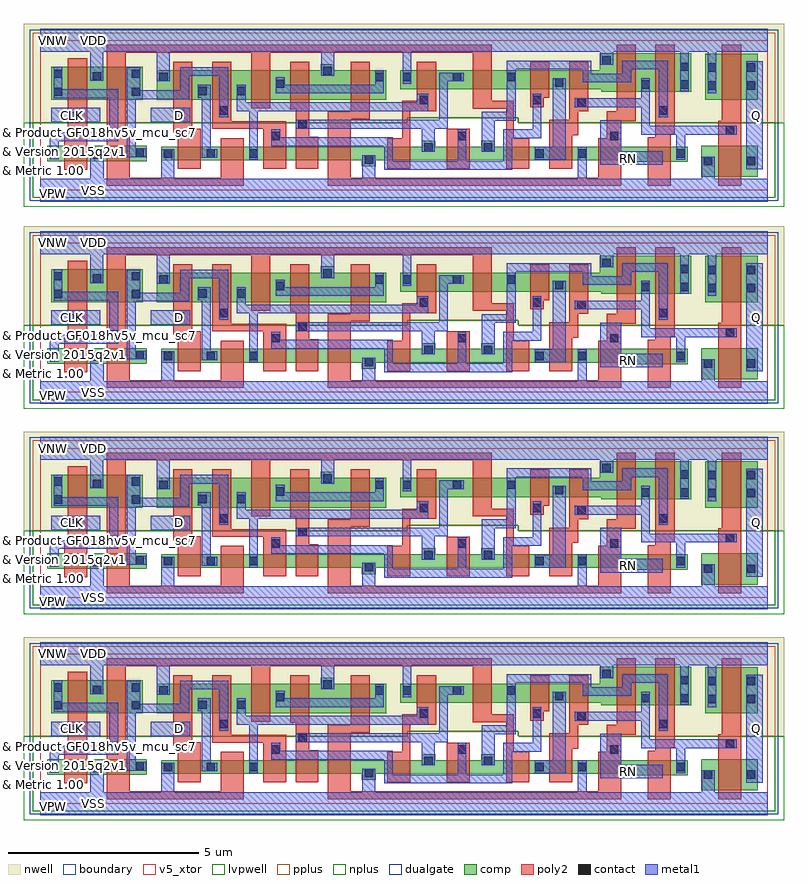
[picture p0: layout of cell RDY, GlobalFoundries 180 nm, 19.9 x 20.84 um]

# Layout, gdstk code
import gdstk
lib = gdstk.Library(unit=1e-6, precision=1e-09)
def R(c, l, rs):  # rectangles x0, y0, x1, y1
    for r in rs: c.add(gdstk.rectangle(r[:2], r[2:], *l))
def A(c, l, x, y, w, h, nx, ny, dx, dy):  # array of equal rectangles
    R(c, l, [(x+i*dx, y+j*dy, x+i*dx+w, y+j*dy+h) for i in range(nx) for j in range(ny)])
def P(c, l, *ps):  # polygons
    for p in ps: c.add(gdstk.Polygon(p, *l))
boundary = (0, 0)
nwell = (21, 0)
comp = (22, 0)
poly2 = (30, 0)
pplus = (31, 0)
nplus = (32, 0)
contact = (33, 0)
metal1 = (34, 0)
dualgate = (55, 0)
v5_xtor = (112, 1)
lvpwell = (204, 0)

rdy = lib.new_cell('RDY')
R(rdy, boundary, [(0,-16.065,19.04,-12.145), (0,-10.675,19.04,-6.755), (0,-5.3,19.04,-1.38), (0,0,19.04,3.92)])
P(rdy, nwell, [(-0.43,-3.54),(-0.43,-0.95),(19.47,-0.95),(19.47,-3.54),(12.515,-3.54),(12.515,-3.405),(9.6,-3.405),(9.6,-3.54)],
  [(-0.43,-8.915),(-0.43,-6.325),(19.47,-6.325),(19.47,-8.915),(12.515,-8.915),(12.515,-8.78),(9.6,-8.78),(9.6,-8.915)],
  [(-0.43,-14.305),(-0.43,-11.715),(19.47,-11.715),(19.47,-14.305),(12.515,-14.305),(12.515,-14.17),(9.6,-14.17),(9.6,-14.305)],
  [(-0.43,1.76),(-0.43,4.35),(19.47,4.35),(19.47,1.76),(12.515,1.76),(12.515,1.895),(9.6,1.895),(9.6,1.76)])
R(rdy, comp, [(17.305,-15.72,18.785,-14.905), (0.18,-15.31,2.78,-14.905), (0.28,-13.705,2.68,-12.84), (17.405,-13.705,18.785,-12.49), (17.305,-10.33,18.785,-9.515), (0.18,-9.92,2.78,-9.515), (0.28,-8.315,2.68,-7.45), (17.405,-8.315,18.785,-7.1), (17.305,-4.955,18.785,-4.14), (0.18,-4.545,2.78,-4.14), (0.28,-2.94,2.68,-2.075), (17.405,-2.94,18.785,-1.725), (17.305,0.345,18.785,1.16), (0.18,0.755,2.78,1.16), (0.28,2.36,2.68,3.225), (17.405,2.36,18.785,3.575)])
P(rdy, comp, [(3.04,-2.94),(3.04,-2.16),(7.34,-2.16),(7.34,-2),(7.7,-2),(7.7,-2.16),(9.06,-2.16),(9.06,-2.94)],
  [(8.42,-4.68),(8.42,-4.52),(3.16,-4.52),(3.16,-4.16),(9.98,-4.16),(9.98,-4.005),(10.34,-4.005),(10.34,-4.16),(11.54,-4.16),(11.54,-4.005),(11.9,-4.005),(11.9,-4.16),(16.945,-4.16),(16.945,-4.56),(15.505,-4.56),(15.505,-4.52),(8.78,-4.52),(8.78,-4.68)],
  [(14.685,-2.72),(14.685,-2.665),(9.42,-2.665),(9.42,-2.16),(14.645,-2.16),(14.645,-1.72),(17.045,-1.72),(17.045,-2.72)],
  [(3.04,-8.315),(3.04,-7.535),(7.34,-7.535),(7.34,-7.375),(7.7,-7.375),(7.7,-7.535),(9.06,-7.535),(9.06,-8.315)],
  [(8.42,-10.055),(8.42,-9.895),(3.16,-9.895),(3.16,-9.535),(9.98,-9.535),(9.98,-9.38),(10.34,-9.38),(10.34,-9.535),(11.54,-9.535),(11.54,-9.38),(11.9,-9.38),(11.9,-9.535),(16.945,-9.535),(16.945,-9.935),(15.505,-9.935),(15.505,-9.895),(8.78,-9.895),(8.78,-10.055)],
  [(14.685,-8.095),(14.685,-8.04),(9.42,-8.04),(9.42,-7.535),(14.645,-7.535),(14.645,-7.095),(17.045,-7.095),(17.045,-8.095)],
  [(3.04,-13.705),(3.04,-12.925),(7.34,-12.925),(7.34,-12.765),(7.7,-12.765),(7.7,-12.925),(9.06,-12.925),(9.06,-13.705)],
  [(8.42,-15.445),(8.42,-15.285),(3.16,-15.285),(3.16,-14.925),(9.98,-14.925),(9.98,-14.77),(10.34,-14.77),(10.34,-14.925),(11.54,-14.925),(11.54,-14.77),(11.9,-14.77),(11.9,-14.925),(16.945,-14.925),(16.945,-15.325),(15.505,-15.325),(15.505,-15.285),(8.78,-15.285),(8.78,-15.445)],
  [(14.685,-13.485),(14.685,-13.43),(9.42,-13.43),(9.42,-12.925),(14.645,-12.925),(14.645,-12.485),(17.045,-12.485),(17.045,-13.485)],
  [(3.04,2.36),(3.04,3.14),(7.34,3.14),(7.34,3.3),(7.7,3.3),(7.7,3.14),(9.06,3.14),(9.06,2.36)],
  [(8.42,0.62),(8.42,0.78),(3.16,0.78),(3.16,1.14),(9.98,1.14),(9.98,1.295),(10.34,1.295),(10.34,1.14),(11.54,1.14),(11.54,1.295),(11.9,1.295),(11.9,1.14),(16.945,1.14),(16.945,0.74),(15.505,0.74),(15.505,0.78),(8.78,0.78),(8.78,0.62)],
  [(14.685,2.58),(14.685,2.635),(9.42,2.635),(9.42,3.14),(14.645,3.14),(14.645,3.58),(17.045,3.58),(17.045,2.58)])
R(rdy, poly2, [(10.64,-15.505,11.24,-14.465), (10.64,-10.115,11.24,-9.075), (10.64,-4.74,11.24,-3.7), (10.64,0.56,11.24,1.6)])
P(rdy, poly2, [(0.62,-4.765),(0.62,-3.86),(0.72,-3.86),(0.72,-1.85),(1.22,-1.85),(1.22,-4.765)],
  [(3.6,-4.74),(3.6,-3.79),(3.48,-3.79),(3.48,-1.94),(3.98,-1.94),(3.98,-3.69),(4.2,-3.69),(4.2,-4.74)],
  [(5.84,-4.74),(5.84,-3.7),(4.5,-3.7),(4.5,-1.94),(5,-1.94),(5,-3.5),(6.44,-3.5),(6.44,-4.74)],
  [(6.68,-4.74),(6.68,-3.185),(6.54,-3.185),(6.54,-1.94),(7.04,-1.94),(7.04,-3.9),(7.28,-3.9),(7.28,-4.74)],
  [(9.08,-4.74),(9.08,-3.94),(9.48,-3.94),(9.48,-2.965),(9.86,-2.965),(9.86,-1.94),(10.36,-1.94),(10.36,-3.23),(9.68,-3.23),(9.68,-4.74)],
  [(1.74,-5.18),(1.74,-1.5),(11.82,-1.5),(11.82,-2.965),(12.4,-2.965),(12.4,-3.94),(12.8,-3.94),(12.8,-4.74),(12.2,-4.74),(12.2,-3.165),(11.32,-3.165),(11.32,-1.7),(6.02,-1.7),(6.02,-3.16),(5.52,-3.16),(5.52,-1.7),(2.24,-1.7),(2.24,-3.86),(2.34,-3.86),(2.34,-4.98),(4.72,-4.98),(4.72,-3.94),(5.32,-3.94),(5.32,-5.18)],
  [(12.825,-3.125),(12.825,-1.94),(13.325,-1.94),(13.325,-2.885),(13.185,-2.885),(13.185,-3.125)],
  [(13.325,-4.74),(13.325,-3.46),(13.845,-3.46),(13.845,-1.94),(14.345,-1.94),(14.345,-3.24),(14.085,-3.24),(14.085,-3.86),(13.925,-3.86),(13.925,-4.74)],
  [(7.52,-5.18),(7.52,-3.24),(8.12,-3.24),(8.12,-1.94),(8.62,-1.94),(8.62,-3.44),(8.12,-3.44),(8.12,-4.98),(14.605,-4.98),(14.605,-3.94),(14.825,-3.94),(14.825,-3.24),(15.085,-3.24),(15.085,-1.5),(15.585,-1.5),(15.585,-3.495),(15.205,-3.495),(15.205,-5.18)],
  [(15.905,-5.18),(15.905,-3.92),(16.105,-3.92),(16.105,-1.5),(16.605,-1.5),(16.605,-3.84),(16.505,-3.84),(16.505,-5.18)],
  [(17.745,-5.18),(17.745,-3.48),(17.845,-3.48),(17.845,-1.5),(18.345,-1.5),(18.345,-5.18)],
  [(0.62,-10.14),(0.62,-9.235),(0.72,-9.235),(0.72,-7.225),(1.22,-7.225),(1.22,-10.14)],
  [(3.6,-10.115),(3.6,-9.165),(3.48,-9.165),(3.48,-7.315),(3.98,-7.315),(3.98,-9.065),(4.2,-9.065),(4.2,-10.115)],
  [(5.84,-10.115),(5.84,-9.075),(4.5,-9.075),(4.5,-7.315),(5,-7.315),(5,-8.875),(6.44,-8.875),(6.44,-10.115)],
  [(6.68,-10.115),(6.68,-8.56),(6.54,-8.56),(6.54,-7.315),(7.04,-7.315),(7.04,-9.275),(7.28,-9.275),(7.28,-10.115)],
  [(9.08,-10.115),(9.08,-9.315),(9.48,-9.315),(9.48,-8.34),(9.86,-8.34),(9.86,-7.315),(10.36,-7.315),(10.36,-8.605),(9.68,-8.605),(9.68,-10.115)],
  [(1.74,-10.555),(1.74,-6.875),(11.82,-6.875),(11.82,-8.34),(12.4,-8.34),(12.4,-9.315),(12.8,-9.315),(12.8,-10.115),(12.2,-10.115),(12.2,-8.54),(11.32,-8.54),(11.32,-7.075),(6.02,-7.075),(6.02,-8.535),(5.52,-8.535),(5.52,-7.075),(2.24,-7.075),(2.24,-9.235),(2.34,-9.235),(2.34,-10.355),(4.72,-10.355),(4.72,-9.315),(5.32,-9.315),(5.32,-10.555)],
  [(12.825,-8.5),(12.825,-7.315),(13.325,-7.315),(13.325,-8.26),(13.185,-8.26),(13.185,-8.5)],
  [(13.325,-10.115),(13.325,-8.835),(13.845,-8.835),(13.845,-7.315),(14.345,-7.315),(14.345,-8.615),(14.085,-8.615),(14.085,-9.235),(13.925,-9.235),(13.925,-10.115)],
  [(7.52,-10.555),(7.52,-8.615),(8.12,-8.615),(8.12,-7.315),(8.62,-7.315),(8.62,-8.815),(8.12,-8.815),(8.12,-10.355),(14.605,-10.355),(14.605,-9.315),(14.825,-9.315),(14.825,-8.615),(15.085,-8.615),(15.085,-6.875),(15.585,-6.875),(15.585,-8.87),(15.205,-8.87),(15.205,-10.555)],
  [(15.905,-10.555),(15.905,-9.295),(16.105,-9.295),(16.105,-6.875),(16.605,-6.875),(16.605,-9.215),(16.505,-9.215),(16.505,-10.555)],
  [(17.745,-10.555),(17.745,-8.855),(17.845,-8.855),(17.845,-6.875),(18.345,-6.875),(18.345,-10.555)],
  [(0.62,-15.53),(0.62,-14.625),(0.72,-14.625),(0.72,-12.615),(1.22,-12.615),(1.22,-15.53)],
  [(3.6,-15.505),(3.6,-14.555),(3.48,-14.555),(3.48,-12.705),(3.98,-12.705),(3.98,-14.455),(4.2,-14.455),(4.2,-15.505)],
  [(5.84,-15.505),(5.84,-14.465),(4.5,-14.465),(4.5,-12.705),(5,-12.705),(5,-14.265),(6.44,-14.265),(6.44,-15.505)],
  [(6.68,-15.505),(6.68,-13.95),(6.54,-13.95),(6.54,-12.705),(7.04,-12.705),(7.04,-14.665),(7.28,-14.665),(7.28,-15.505)],
  [(9.08,-15.505),(9.08,-14.705),(9.48,-14.705),(9.48,-13.73),(9.86,-13.73),(9.86,-12.705),(10.36,-12.705),(10.36,-13.995),(9.68,-13.995),(9.68,-15.505)],
  [(1.74,-15.945),(1.74,-12.265),(11.82,-12.265),(11.82,-13.73),(12.4,-13.73),(12.4,-14.705),(12.8,-14.705),(12.8,-15.505),(12.2,-15.505),(12.2,-13.93),(11.32,-13.93),(11.32,-12.465),(6.02,-12.465),(6.02,-13.925),(5.52,-13.925),(5.52,-12.465),(2.24,-12.465),(2.24,-14.625),(2.34,-14.625),(2.34,-15.745),(4.72,-15.745),(4.72,-14.705),(5.32,-14.705),(5.32,-15.945)],
  [(12.825,-13.89),(12.825,-12.705),(13.325,-12.705),(13.325,-13.65),(13.185,-13.65),(13.185,-13.89)],
  [(13.325,-15.505),(13.325,-14.225),(13.845,-14.225),(13.845,-12.705),(14.345,-12.705),(14.345,-14.005),(14.085,-14.005),(14.085,-14.625),(13.925,-14.625),(13.925,-15.505)],
  [(7.52,-15.945),(7.52,-14.005),(8.12,-14.005),(8.12,-12.705),(8.62,-12.705),(8.62,-14.205),(8.12,-14.205),(8.12,-15.745),(14.605,-15.745),(14.605,-14.705),(14.825,-14.705),(14.825,-14.005),(15.085,-14.005),(15.085,-12.265),(15.585,-12.265),(15.585,-14.26),(15.205,-14.26),(15.205,-15.945)],
  [(15.905,-15.945),(15.905,-14.685),(16.105,-14.685),(16.105,-12.265),(16.605,-12.265),(16.605,-14.605),(16.505,-14.605),(16.505,-15.945)],
  [(17.745,-15.945),(17.745,-14.245),(17.845,-14.245),(17.845,-12.265),(18.345,-12.265),(18.345,-15.945)],
  [(0.62,0.535),(0.62,1.44),(0.72,1.44),(0.72,3.45),(1.22,3.45),(1.22,0.535)],
  [(3.6,0.56),(3.6,1.51),(3.48,1.51),(3.48,3.36),(3.98,3.36),(3.98,1.61),(4.2,1.61),(4.2,0.56)],
  [(5.84,0.56),(5.84,1.6),(4.5,1.6),(4.5,3.36),(5,3.36),(5,1.8),(6.44,1.8),(6.44,0.56)],
  [(6.68,0.56),(6.68,2.115),(6.54,2.115),(6.54,3.36),(7.04,3.36),(7.04,1.4),(7.28,1.4),(7.28,0.56)],
  [(9.08,0.56),(9.08,1.36),(9.48,1.36),(9.48,2.335),(9.86,2.335),(9.86,3.36),(10.36,3.36),(10.36,2.07),(9.68,2.07),(9.68,0.56)],
  [(1.74,0.12),(1.74,3.8),(11.82,3.8),(11.82,2.335),(12.4,2.335),(12.4,1.36),(12.8,1.36),(12.8,0.56),(12.2,0.56),(12.2,2.135),(11.32,2.135),(11.32,3.6),(6.02,3.6),(6.02,2.14),(5.52,2.14),(5.52,3.6),(2.24,3.6),(2.24,1.44),(2.34,1.44),(2.34,0.32),(4.72,0.32),(4.72,1.36),(5.32,1.36),(5.32,0.12)],
  [(12.825,2.175),(12.825,3.36),(13.325,3.36),(13.325,2.415),(13.185,2.415),(13.185,2.175)],
  [(13.325,0.56),(13.325,1.84),(13.845,1.84),(13.845,3.36),(14.345,3.36),(14.345,2.06),(14.085,2.06),(14.085,1.44),(13.925,1.44),(13.925,0.56)],
  [(7.52,0.12),(7.52,2.06),(8.12,2.06),(8.12,3.36),(8.62,3.36),(8.62,1.86),(8.12,1.86),(8.12,0.32),(14.605,0.32),(14.605,1.36),(14.825,1.36),(14.825,2.06),(15.085,2.06),(15.085,3.8),(15.585,3.8),(15.585,1.805),(15.205,1.805),(15.205,0.12)],
  [(15.905,0.12),(15.905,1.38),(16.105,1.38),(16.105,3.8),(16.605,3.8),(16.605,1.46),(16.505,1.46),(16.505,0.12)],
  [(17.745,0.12),(17.745,1.82),(17.845,1.82),(17.845,3.8),(18.345,3.8),(18.345,0.12)])
P(rdy, pplus, [(-0.2,-3.54),(-0.2,-1.18),(19.24,-1.18),(19.24,-3.54),(12.515,-3.54),(12.515,-3.405),(9.6,-3.405),(9.6,-3.54)],
  [(-0.2,-8.915),(-0.2,-6.555),(19.24,-6.555),(19.24,-8.915),(12.515,-8.915),(12.515,-8.78),(9.6,-8.78),(9.6,-8.915)],
  [(-0.2,-14.305),(-0.2,-11.945),(19.24,-11.945),(19.24,-14.305),(12.515,-14.305),(12.515,-14.17),(9.6,-14.17),(9.6,-14.305)],
  [(-0.2,1.76),(-0.2,4.12),(19.24,4.12),(19.24,1.76),(12.515,1.76),(12.515,1.895),(9.6,1.895),(9.6,1.76)])
P(rdy, nplus, [(-0.2,-5.5),(-0.2,-3.54),(9.6,-3.54),(9.6,-3.405),(12.515,-3.405),(12.515,-3.54),(19.24,-3.54),(19.24,-5.5)],
  [(-0.2,-10.875),(-0.2,-8.915),(9.6,-8.915),(9.6,-8.78),(12.515,-8.78),(12.515,-8.915),(19.24,-8.915),(19.24,-10.875)],
  [(-0.2,-16.265),(-0.2,-14.305),(9.6,-14.305),(9.6,-14.17),(12.515,-14.17),(12.515,-14.305),(19.24,-14.305),(19.24,-16.265)],
  [(-0.2,-0.2),(-0.2,1.76),(9.6,1.76),(9.6,1.895),(12.515,1.895),(12.515,1.76),(19.24,1.76),(19.24,-0.2)])
A(rdy, contact, 3.23, -15.215, 0.22, 0.22, 3, 2, 1.12, 5.39)
A(rdy, contact, 3.23, -4.45, 0.22, 0.22, 3, 2, 1.12, 5.3)
R(rdy, contact, [(17.375,-15.415,17.595,-15.195), (18.495,-15.415,18.715,-15.195), (8.49,-15.375,8.71,-15.155), (1.37,-15.24,1.59,-15.02), (12.955,-15.215,13.175,-14.995), (14.075,-15.215,14.295,-14.995), (16.655,-15.215,16.875,-14.995), (0.25,-15.195,0.47,-14.975), (2.49,-15.195,2.71,-14.975), (10.05,-15.06,10.27,-14.84), (11.61,-15.06,11.83,-14.84), (6.05,-14.755,6.27,-14.535), (10.93,-14.755,11.15,-14.535), (14.915,-14.755,15.135,-14.535), (1.81,-14.66,2.03,-14.44), (17.95,-14.61,18.17,-14.39), (6.75,-14.45,6.97,-14.23), (0.79,-14.23,1.01,-14.01), (3.55,-14.18,3.77,-13.96), (4.69,-14.095,4.91,-13.875), (16.195,-14.095,16.415,-13.875), (14.055,-13.885,14.275,-13.665), (9.93,-13.82,10.15,-13.6), (12.895,-13.82,13.115,-13.6), (0.35,-13.6,0.57,-13.38), (2.39,-13.6,2.61,-13.38), (4.13,-13.585,4.35,-13.365), (5.15,-13.585,5.37,-13.365), (17.475,-13.435,17.695,-13.215), (18.495,-13.435,18.715,-13.215), (15.735,-13.415,15.955,-13.195), (16.755,-13.415,16.975,-13.195), (6.17,-13.39,6.39,-13.17), (13.475,-13.36,13.695,-13.14), (3.11,-13.215,3.33,-12.995), (8.77,-13.215,8.99,-12.995), (9.49,-13.215,9.71,-12.995), (10.8,-13.215,11.02,-12.995), (12.215,-13.215,12.435,-12.995), (1.37,-13.195,1.59,-12.975), (0.35,-13.13,0.57,-12.91), (2.39,-13.13,2.61,-12.91), (7.41,-13.055,7.63,-12.835), (17.475,-12.965,17.695,-12.745), (18.495,-12.965,18.715,-12.745), (16.755,-12.945,16.975,-12.725), (14.715,-12.78,14.935,-12.56), (17.375,-10.025,17.595,-9.805), (18.495,-10.025,18.715,-9.805), (8.49,-9.985,8.71,-9.765), (1.37,-9.85,1.59,-9.63), (12.955,-9.825,13.175,-9.605), (14.075,-9.825,14.295,-9.605), (16.655,-9.825,16.875,-9.605), (0.25,-9.805,0.47,-9.585), (2.49,-9.805,2.71,-9.585), (10.05,-9.67,10.27,-9.45), (11.61,-9.67,11.83,-9.45), (6.05,-9.365,6.27,-9.145), (10.93,-9.365,11.15,-9.145), (14.915,-9.365,15.135,-9.145), (1.81,-9.27,2.03,-9.05), (17.95,-9.22,18.17,-9), (6.75,-9.06,6.97,-8.84), (0.79,-8.84,1.01,-8.62), (3.55,-8.79,3.77,-8.57), (4.69,-8.705,4.91,-8.485), (16.195,-8.705,16.415,-8.485), (14.055,-8.495,14.275,-8.275), (9.93,-8.43,10.15,-8.21), (12.895,-8.43,13.115,-8.21), (0.35,-8.21,0.57,-7.99), (2.39,-8.21,2.61,-7.99), (4.13,-8.195,4.35,-7.975), (5.15,-8.195,5.37,-7.975), (17.475,-8.045,17.695,-7.825), (18.495,-8.045,18.715,-7.825), (15.735,-8.025,15.955,-7.805), (16.755,-8.025,16.975,-7.805), (6.17,-8,6.39,-7.78), (13.475,-7.97,13.695,-7.75), (3.11,-7.825,3.33,-7.605), (8.77,-7.825,8.99,-7.605), (9.49,-7.825,9.71,-7.605), (10.8,-7.825,11.02,-7.605), (12.215,-7.825,12.435,-7.605), (1.37,-7.805,1.59,-7.585), (0.35,-7.74,0.57,-7.52), (2.39,-7.74,2.61,-7.52), (7.41,-7.665,7.63,-7.445), (17.475,-7.575,17.695,-7.355), (18.495,-7.575,18.715,-7.355), (16.755,-7.555,16.975,-7.335), (14.715,-7.39,14.935,-7.17), (17.375,-4.65,17.595,-4.43), (18.495,-4.65,18.715,-4.43), (8.49,-4.61,8.71,-4.39), (1.37,-4.475,1.59,-4.255), (12.955,-4.45,13.175,-4.23), (14.075,-4.45,14.295,-4.23), (16.655,-4.45,16.875,-4.23), (0.25,-4.43,0.47,-4.21), (2.49,-4.43,2.71,-4.21), (10.05,-4.295,10.27,-4.075), (11.61,-4.295,11.83,-4.075), (6.05,-3.99,6.27,-3.77), (10.93,-3.99,11.15,-3.77), (14.915,-3.99,15.135,-3.77), (1.81,-3.895,2.03,-3.675), (17.95,-3.845,18.17,-3.625), (6.75,-3.685,6.97,-3.465), (0.79,-3.465,1.01,-3.245), (3.55,-3.415,3.77,-3.195), (4.69,-3.33,4.91,-3.11), (16.195,-3.33,16.415,-3.11), (14.055,-3.12,14.275,-2.9), (9.93,-3.055,10.15,-2.835), (12.895,-3.055,13.115,-2.835), (0.35,-2.835,0.57,-2.615), (2.39,-2.835,2.61,-2.615), (4.13,-2.82,4.35,-2.6), (5.15,-2.82,5.37,-2.6), (17.475,-2.67,17.695,-2.45), (18.495,-2.67,18.715,-2.45), (15.735,-2.65,15.955,-2.43), (16.755,-2.65,16.975,-2.43), (6.17,-2.625,6.39,-2.405), (13.475,-2.595,13.695,-2.375), (3.11,-2.45,3.33,-2.23), (8.77,-2.45,8.99,-2.23), (9.49,-2.45,9.71,-2.23), (10.8,-2.45,11.02,-2.23), (12.215,-2.45,12.435,-2.23), (1.37,-2.43,1.59,-2.21), (0.35,-2.365,0.57,-2.145), (2.39,-2.365,2.61,-2.145), (7.41,-2.29,7.63,-2.07), (17.475,-2.2,17.695,-1.98), (18.495,-2.2,18.715,-1.98), (16.755,-2.18,16.975,-1.96), (14.715,-2.015,14.935,-1.795), (17.375,0.65,17.595,0.87), (18.495,0.65,18.715,0.87), (8.49,0.69,8.71,0.91), (1.37,0.825,1.59,1.045), (12.955,0.85,13.175,1.07), (14.075,0.85,14.295,1.07), (16.655,0.85,16.875,1.07), (0.25,0.87,0.47,1.09), (2.49,0.87,2.71,1.09), (10.05,1.005,10.27,1.225), (11.61,1.005,11.83,1.225), (6.05,1.31,6.27,1.53), (10.93,1.31,11.15,1.53), (14.915,1.31,15.135,1.53), (1.81,1.405,2.03,1.625), (17.95,1.455,18.17,1.675), (6.75,1.615,6.97,1.835), (0.79,1.835,1.01,2.055), (3.55,1.885,3.77,2.105), (4.69,1.97,4.91,2.19), (16.195,1.97,16.415,2.19), (14.055,2.18,14.275,2.4), (9.93,2.245,10.15,2.465), (12.895,2.245,13.115,2.465), (0.35,2.465,0.57,2.685), (2.39,2.465,2.61,2.685), (4.13,2.48,4.35,2.7), (5.15,2.48,5.37,2.7), (17.475,2.63,17.695,2.85), (18.495,2.63,18.715,2.85), (15.735,2.65,15.955,2.87), (16.755,2.65,16.975,2.87), (6.17,2.675,6.39,2.895), (13.475,2.705,13.695,2.925), (3.11,2.85,3.33,3.07), (8.77,2.85,8.99,3.07), (9.49,2.85,9.71,3.07), (10.8,2.85,11.02,3.07), (12.215,2.85,12.435,3.07), (1.37,2.87,1.59,3.09), (0.35,2.935,0.57,3.155), (2.39,2.935,2.61,3.155), (7.41,3.01,7.63,3.23), (17.475,3.1,17.695,3.32), (18.495,3.1,18.715,3.32), (16.755,3.12,16.975,3.34), (14.715,3.285,14.935,3.505)])
R(rdy, metal1, [(18.475,-15.515,18.91,-12.685), (0.28,-14.295,1.57,-13.915), (2.89,-14.295,3.92,-13.915), (18.475,-10.125,18.91,-7.295), (0.28,-8.905,1.57,-8.525), (2.89,-8.905,3.92,-8.525), (18.475,-4.75,18.91,-1.92), (0.28,-3.53,1.57,-3.15), (2.89,-3.53,3.92,-3.15), (18.475,0.55,18.91,3.38), (0.28,1.77,1.57,2.15), (2.89,1.77,3.92,2.15)])
P(rdy, metal1, [(0.245,-4.49),(0.245,-3.79),(1.805,-3.79),(1.805,-2.895),(0.345,-2.895),(0.345,-2.075),(0.575,-2.075),(0.575,-2.665),(2.035,-2.665),(2.035,-4.02),(0.475,-4.02),(0.475,-4.49)],
  [(4.225,-4.455),(4.225,-2.88),(4.125,-2.88),(4.125,-2.54),(4.455,-2.54),(4.455,-4.225),(4.63,-4.225),(4.63,-4.455)],
  [(2.265,-4.435),(2.265,-2.085),(2.615,-2.085),(2.615,-2.685),(3.665,-2.685),(3.665,-2.08),(4.915,-2.08),(4.915,-3.39),(4.685,-3.39),(4.685,-2.31),(3.895,-2.31),(3.895,-2.915),(2.495,-2.915),(2.495,-4.205),(2.77,-4.205),(2.77,-4.435)],
  [(6.165,-2.77),(6.165,-2.345),(6.395,-2.345),(6.395,-2.54),(8.765,-2.54),(8.765,-2.17),(8.995,-2.17),(8.995,-2.77)],
  [(5.465,-4.51),(5.465,-3.23),(5.145,-3.23),(5.145,-2.54),(5.375,-2.54),(5.375,-3),(9.855,-3),(9.855,-2.775),(10.155,-2.775),(10.155,-3.23),(5.695,-3.23),(5.695,-4.51)],
  [(9.99,-4.3),(9.99,-3.69),(6.69,-3.69),(6.69,-3.46),(10.44,-3.46),(10.44,-2.225),(11.08,-2.225),(11.08,-2.455),(10.67,-2.455),(10.67,-3.69),(10.33,-3.69),(10.33,-4.3)],
  [(9,-4.77),(9,-4.15),(6.045,-4.15),(6.045,-3.71),(6.275,-3.71),(6.275,-3.92),(9.23,-3.92),(9.23,-4.54),(10.925,-4.54),(10.925,-3.71),(11.155,-3.71),(11.155,-4.54),(12.12,-4.54),(12.12,-3.71),(12.89,-3.71),(12.89,-2.775),(13.12,-2.775),(13.12,-3.94),(12.35,-3.94),(12.35,-4.77)],
  [(12.95,-4.51),(12.95,-4.17),(13.415,-4.17),(13.415,-2.37),(13.755,-2.37),(13.755,-4.51)],
  [(14.66,-4.64),(14.66,-3.47),(15.205,-3.47),(15.205,-4.28),(16.295,-4.28),(16.295,-4.64)],
  [(11.55,-4.3),(11.55,-3.25),(12.21,-3.25),(12.21,-1.91),(14.425,-1.91),(14.425,-2.25),(15.235,-2.25),(15.235,-1.91),(16.42,-1.91),(16.42,-3.39),(16.19,-3.39),(16.19,-2.14),(15.465,-2.14),(15.465,-2.48),(14.195,-2.48),(14.195,-2.14),(12.44,-2.14),(12.44,-3.48),(11.89,-3.48),(11.89,-4.3)],
  [(16.65,-4.51),(16.65,-3.85),(15.73,-3.85),(15.73,-3.125),(13.995,-3.125),(13.995,-2.895),(15.73,-2.895),(15.73,-2.37),(15.96,-2.37),(15.96,-3.62),(18.23,-3.62),(18.23,-3.85),(16.88,-3.85),(16.88,-4.51)],
  [(0,-5.6),(0,-5),(1.31,-5),(1.31,-4.25),(1.655,-4.25),(1.655,-5),(3.17,-5),(3.17,-4.225),(3.51,-4.225),(3.51,-5),(8.43,-5),(8.43,-4.385),(8.77,-4.385),(8.77,-5),(14.07,-5),(14.07,-4.17),(14.3,-4.17),(14.3,-5),(17.315,-5),(17.315,-4.425),(17.655,-4.425),(17.655,-5),(19.04,-5),(19.04,-5.6)],
  [(17.47,-2.77),(17.47,-1.68),(16.98,-1.68),(16.98,-2.71),(16.75,-2.71),(16.75,-1.68),(14.995,-1.68),(14.995,-2.02),(14.655,-2.02),(14.655,-1.68),(9.715,-1.68),(9.715,-2.51),(9.485,-2.51),(9.485,-1.68),(7.69,-1.68),(7.69,-2.31),(7.35,-2.31),(7.35,-1.68),(3.39,-1.68),(3.39,-2.455),(3.05,-2.455),(3.05,-1.68),(1.65,-1.68),(1.65,-2.435),(1.31,-2.435),(1.31,-1.68),(0,-1.68),(0,-1.08),(19.04,-1.08),(19.04,-1.68),(17.7,-1.68),(17.7,-2.77)],
  [(0.245,-9.865),(0.245,-9.165),(1.805,-9.165),(1.805,-8.27),(0.345,-8.27),(0.345,-7.45),(0.575,-7.45),(0.575,-8.04),(2.035,-8.04),(2.035,-9.395),(0.475,-9.395),(0.475,-9.865)],
  [(4.225,-9.83),(4.225,-8.255),(4.125,-8.255),(4.125,-7.915),(4.455,-7.915),(4.455,-9.6),(4.63,-9.6),(4.63,-9.83)],
  [(2.265,-9.81),(2.265,-7.46),(2.615,-7.46),(2.615,-8.06),(3.665,-8.06),(3.665,-7.455),(4.915,-7.455),(4.915,-8.765),(4.685,-8.765),(4.685,-7.685),(3.895,-7.685),(3.895,-8.29),(2.495,-8.29),(2.495,-9.58),(2.77,-9.58),(2.77,-9.81)],
  [(6.165,-8.145),(6.165,-7.72),(6.395,-7.72),(6.395,-7.915),(8.765,-7.915),(8.765,-7.545),(8.995,-7.545),(8.995,-8.145)],
  [(5.465,-9.885),(5.465,-8.605),(5.145,-8.605),(5.145,-7.915),(5.375,-7.915),(5.375,-8.375),(9.855,-8.375),(9.855,-8.15),(10.155,-8.15),(10.155,-8.605),(5.695,-8.605),(5.695,-9.885)],
  [(9.99,-9.675),(9.99,-9.065),(6.69,-9.065),(6.69,-8.835),(10.44,-8.835),(10.44,-7.6),(11.08,-7.6),(11.08,-7.83),(10.67,-7.83),(10.67,-9.065),(10.33,-9.065),(10.33,-9.675)],
  [(9,-10.145),(9,-9.525),(6.045,-9.525),(6.045,-9.085),(6.275,-9.085),(6.275,-9.295),(9.23,-9.295),(9.23,-9.915),(10.925,-9.915),(10.925,-9.085),(11.155,-9.085),(11.155,-9.915),(12.12,-9.915),(12.12,-9.085),(12.89,-9.085),(12.89,-8.15),(13.12,-8.15),(13.12,-9.315),(12.35,-9.315),(12.35,-10.145)],
  [(12.95,-9.885),(12.95,-9.545),(13.415,-9.545),(13.415,-7.745),(13.755,-7.745),(13.755,-9.885)],
  [(14.66,-10.015),(14.66,-8.845),(15.205,-8.845),(15.205,-9.655),(16.295,-9.655),(16.295,-10.015)],
  [(11.55,-9.675),(11.55,-8.625),(12.21,-8.625),(12.21,-7.285),(14.425,-7.285),(14.425,-7.625),(15.235,-7.625),(15.235,-7.285),(16.42,-7.285),(16.42,-8.765),(16.19,-8.765),(16.19,-7.515),(15.465,-7.515),(15.465,-7.855),(14.195,-7.855),(14.195,-7.515),(12.44,-7.515),(12.44,-8.855),(11.89,-8.855),(11.89,-9.675)],
  [(16.65,-9.885),(16.65,-9.225),(15.73,-9.225),(15.73,-8.5),(13.995,-8.5),(13.995,-8.27),(15.73,-8.27),(15.73,-7.745),(15.96,-7.745),(15.96,-8.995),(18.23,-8.995),(18.23,-9.225),(16.88,-9.225),(16.88,-9.885)],
  [(0,-10.975),(0,-10.375),(1.31,-10.375),(1.31,-9.625),(1.655,-9.625),(1.655,-10.375),(3.17,-10.375),(3.17,-9.6),(3.51,-9.6),(3.51,-10.375),(8.43,-10.375),(8.43,-9.76),(8.77,-9.76),(8.77,-10.375),(14.07,-10.375),(14.07,-9.545),(14.3,-9.545),(14.3,-10.375),(17.315,-10.375),(17.315,-9.8),(17.655,-9.8),(17.655,-10.375),(19.04,-10.375),(19.04,-10.975)],
  [(17.47,-8.145),(17.47,-7.055),(16.98,-7.055),(16.98,-8.085),(16.75,-8.085),(16.75,-7.055),(14.995,-7.055),(14.995,-7.395),(14.655,-7.395),(14.655,-7.055),(9.715,-7.055),(9.715,-7.885),(9.485,-7.885),(9.485,-7.055),(7.69,-7.055),(7.69,-7.685),(7.35,-7.685),(7.35,-7.055),(3.39,-7.055),(3.39,-7.83),(3.05,-7.83),(3.05,-7.055),(1.65,-7.055),(1.65,-7.81),(1.31,-7.81),(1.31,-7.055),(0,-7.055),(0,-6.455),(19.04,-6.455),(19.04,-7.055),(17.7,-7.055),(17.7,-8.145)],
  [(0.245,-15.255),(0.245,-14.555),(1.805,-14.555),(1.805,-13.66),(0.345,-13.66),(0.345,-12.84),(0.575,-12.84),(0.575,-13.43),(2.035,-13.43),(2.035,-14.785),(0.475,-14.785),(0.475,-15.255)],
  [(4.225,-15.22),(4.225,-13.645),(4.125,-13.645),(4.125,-13.305),(4.455,-13.305),(4.455,-14.99),(4.63,-14.99),(4.63,-15.22)],
  [(2.265,-15.2),(2.265,-12.85),(2.615,-12.85),(2.615,-13.45),(3.665,-13.45),(3.665,-12.845),(4.915,-12.845),(4.915,-14.155),(4.685,-14.155),(4.685,-13.075),(3.895,-13.075),(3.895,-13.68),(2.495,-13.68),(2.495,-14.97),(2.77,-14.97),(2.77,-15.2)],
  [(6.165,-13.535),(6.165,-13.11),(6.395,-13.11),(6.395,-13.305),(8.765,-13.305),(8.765,-12.935),(8.995,-12.935),(8.995,-13.535)],
  [(5.465,-15.275),(5.465,-13.995),(5.145,-13.995),(5.145,-13.305),(5.375,-13.305),(5.375,-13.765),(9.855,-13.765),(9.855,-13.54),(10.155,-13.54),(10.155,-13.995),(5.695,-13.995),(5.695,-15.275)],
  [(9.99,-15.065),(9.99,-14.455),(6.69,-14.455),(6.69,-14.225),(10.44,-14.225),(10.44,-12.99),(11.08,-12.99),(11.08,-13.22),(10.67,-13.22),(10.67,-14.455),(10.33,-14.455),(10.33,-15.065)],
  [(9,-15.535),(9,-14.915),(6.045,-14.915),(6.045,-14.475),(6.275,-14.475),(6.275,-14.685),(9.23,-14.685),(9.23,-15.305),(10.925,-15.305),(10.925,-14.475),(11.155,-14.475),(11.155,-15.305),(12.12,-15.305),(12.12,-14.475),(12.89,-14.475),(12.89,-13.54),(13.12,-13.54),(13.12,-14.705),(12.35,-14.705),(12.35,-15.535)],
  [(12.95,-15.275),(12.95,-14.935),(13.415,-14.935),(13.415,-13.135),(13.755,-13.135),(13.755,-15.275)],
  [(14.66,-15.405),(14.66,-14.235),(15.205,-14.235),(15.205,-15.045),(16.295,-15.045),(16.295,-15.405)],
  [(11.55,-15.065),(11.55,-14.015),(12.21,-14.015),(12.21,-12.675),(14.425,-12.675),(14.425,-13.015),(15.235,-13.015),(15.235,-12.675),(16.42,-12.675),(16.42,-14.155),(16.19,-14.155),(16.19,-12.905),(15.465,-12.905),(15.465,-13.245),(14.195,-13.245),(14.195,-12.905),(12.44,-12.905),(12.44,-14.245),(11.89,-14.245),(11.89,-15.065)],
  [(16.65,-15.275),(16.65,-14.615),(15.73,-14.615),(15.73,-13.89),(13.995,-13.89),(13.995,-13.66),(15.73,-13.66),(15.73,-13.135),(15.96,-13.135),(15.96,-14.385),(18.23,-14.385),(18.23,-14.615),(16.88,-14.615),(16.88,-15.275)],
  [(0,-16.365),(0,-15.765),(1.31,-15.765),(1.31,-15.015),(1.655,-15.015),(1.655,-15.765),(3.17,-15.765),(3.17,-14.99),(3.51,-14.99),(3.51,-15.765),(8.43,-15.765),(8.43,-15.15),(8.77,-15.15),(8.77,-15.765),(14.07,-15.765),(14.07,-14.935),(14.3,-14.935),(14.3,-15.765),(17.315,-15.765),(17.315,-15.19),(17.655,-15.19),(17.655,-15.765),(19.04,-15.765),(19.04,-16.365)],
  [(17.47,-13.535),(17.47,-12.445),(16.98,-12.445),(16.98,-13.475),(16.75,-13.475),(16.75,-12.445),(14.995,-12.445),(14.995,-12.785),(14.655,-12.785),(14.655,-12.445),(9.715,-12.445),(9.715,-13.275),(9.485,-13.275),(9.485,-12.445),(7.69,-12.445),(7.69,-13.075),(7.35,-13.075),(7.35,-12.445),(3.39,-12.445),(3.39,-13.22),(3.05,-13.22),(3.05,-12.445),(1.65,-12.445),(1.65,-13.2),(1.31,-13.2),(1.31,-12.445),(0,-12.445),(0,-11.845),(19.04,-11.845),(19.04,-12.445),(17.7,-12.445),(17.7,-13.535)],
  [(0.245,0.81),(0.245,1.51),(1.805,1.51),(1.805,2.405),(0.345,2.405),(0.345,3.225),(0.575,3.225),(0.575,2.635),(2.035,2.635),(2.035,1.28),(0.475,1.28),(0.475,0.81)],
  [(4.225,0.845),(4.225,2.42),(4.125,2.42),(4.125,2.76),(4.455,2.76),(4.455,1.075),(4.63,1.075),(4.63,0.845)],
  [(2.265,0.865),(2.265,3.215),(2.615,3.215),(2.615,2.615),(3.665,2.615),(3.665,3.22),(4.915,3.22),(4.915,1.91),(4.685,1.91),(4.685,2.99),(3.895,2.99),(3.895,2.385),(2.495,2.385),(2.495,1.095),(2.77,1.095),(2.77,0.865)],
  [(6.165,2.53),(6.165,2.955),(6.395,2.955),(6.395,2.76),(8.765,2.76),(8.765,3.13),(8.995,3.13),(8.995,2.53)],
  [(5.465,0.79),(5.465,2.07),(5.145,2.07),(5.145,2.76),(5.375,2.76),(5.375,2.3),(9.855,2.3),(9.855,2.525),(10.155,2.525),(10.155,2.07),(5.695,2.07),(5.695,0.79)],
  [(9.99,1),(9.99,1.61),(6.69,1.61),(6.69,1.84),(10.44,1.84),(10.44,3.075),(11.08,3.075),(11.08,2.845),(10.67,2.845),(10.67,1.61),(10.33,1.61),(10.33,1)],
  [(9,0.53),(9,1.15),(6.045,1.15),(6.045,1.59),(6.275,1.59),(6.275,1.38),(9.23,1.38),(9.23,0.76),(10.925,0.76),(10.925,1.59),(11.155,1.59),(11.155,0.76),(12.12,0.76),(12.12,1.59),(12.89,1.59),(12.89,2.525),(13.12,2.525),(13.12,1.36),(12.35,1.36),(12.35,0.53)],
  [(12.95,0.79),(12.95,1.13),(13.415,1.13),(13.415,2.93),(13.755,2.93),(13.755,0.79)],
  [(14.66,0.66),(14.66,1.83),(15.205,1.83),(15.205,1.02),(16.295,1.02),(16.295,0.66)],
  [(11.55,1),(11.55,2.05),(12.21,2.05),(12.21,3.39),(14.425,3.39),(14.425,3.05),(15.235,3.05),(15.235,3.39),(16.42,3.39),(16.42,1.91),(16.19,1.91),(16.19,3.16),(15.465,3.16),(15.465,2.82),(14.195,2.82),(14.195,3.16),(12.44,3.16),(12.44,1.82),(11.89,1.82),(11.89,1)],
  [(16.65,0.79),(16.65,1.45),(15.73,1.45),(15.73,2.175),(13.995,2.175),(13.995,2.405),(15.73,2.405),(15.73,2.93),(15.96,2.93),(15.96,1.68),(18.23,1.68),(18.23,1.45),(16.88,1.45),(16.88,0.79)],
  [(0,-0.3),(0,0.3),(1.31,0.3),(1.31,1.05),(1.655,1.05),(1.655,0.3),(3.17,0.3),(3.17,1.075),(3.51,1.075),(3.51,0.3),(8.43,0.3),(8.43,0.915),(8.77,0.915),(8.77,0.3),(14.07,0.3),(14.07,1.13),(14.3,1.13),(14.3,0.3),(17.315,0.3),(17.315,0.875),(17.655,0.875),(17.655,0.3),(19.04,0.3),(19.04,-0.3)],
  [(17.47,2.53),(17.47,3.62),(16.98,3.62),(16.98,2.59),(16.75,2.59),(16.75,3.62),(14.995,3.62),(14.995,3.28),(14.655,3.28),(14.655,3.62),(9.715,3.62),(9.715,2.79),(9.485,2.79),(9.485,3.62),(7.69,3.62),(7.69,2.99),(7.35,2.99),(7.35,3.62),(3.39,3.62),(3.39,2.845),(3.05,2.845),(3.05,3.62),(1.65,3.62),(1.65,2.865),(1.31,2.865),(1.31,3.62),(0,3.62),(0,4.22),(19.04,4.22),(19.04,3.62),(17.7,3.62),(17.7,2.53)])
R(rdy, dualgate, [(-0.28,-16.345,19.32,-11.865), (-0.28,-10.955,19.32,-6.475), (-0.28,-5.58,19.32,-1.1), (-0.28,-0.28,19.32,4.2)])
R(rdy, v5_xtor, [(0,-16.065,19.04,-12.145), (0,-10.675,19.04,-6.755), (0,-5.3,19.04,-1.38), (0,0,19.04,3.92)])
P(rdy, lvpwell, [(-0.43,-5.73),(-0.43,-3.54),(9.6,-3.54),(9.6,-3.405),(12.515,-3.405),(12.515,-3.54),(19.47,-3.54),(19.47,-5.73)],
  [(-0.43,-11.105),(-0.43,-8.915),(9.6,-8.915),(9.6,-8.78),(12.515,-8.78),(12.515,-8.915),(19.47,-8.915),(19.47,-11.105)],
  [(-0.43,-16.495),(-0.43,-14.305),(9.6,-14.305),(9.6,-14.17),(12.515,-14.17),(12.515,-14.305),(19.47,-14.305),(19.47,-16.495)],
  [(-0.43,-0.43),(-0.43,1.76),(9.6,1.76),(9.6,1.895),(12.515,1.895),(12.515,1.76),(19.47,1.76),(19.47,-0.43)])
rdy.add(gdstk.Label('D', (3.64,-3.34), layer=34, texttype=10))
rdy.add(gdstk.Label('Q', (18.76,-3.34), layer=34, texttype=10))
rdy.add(gdstk.Label('RN', (15.4,-4.46), layer=34, texttype=10))
rdy.add(gdstk.Label('VSS', (1.4,-5.3), layer=34, texttype=10))
rdy.add(gdstk.Label('CLK', (0.84,-3.34), layer=34, texttype=10))
rdy.add(gdstk.Label('VDD', (1.4,-1.38), layer=34, texttype=10))
rdy.add(gdstk.Label('D', (3.64,-8.715), layer=34, texttype=10))
rdy.add(gdstk.Label('Q', (18.76,-8.715), layer=34, texttype=10))
rdy.add(gdstk.Label('RN', (15.4,-9.835), layer=34, texttype=10))
rdy.add(gdstk.Label('VSS', (1.4,-10.675), layer=34, texttype=10))
rdy.add(gdstk.Label('CLK', (0.84,-8.715), layer=34, texttype=10))
rdy.add(gdstk.Label('VDD', (1.4,-6.755), layer=34, texttype=10))
rdy.add(gdstk.Label('D', (3.64,-14.105), layer=34, texttype=10))
rdy.add(gdstk.Label('Q', (18.76,-14.105), layer=34, texttype=10))
rdy.add(gdstk.Label('RN', (15.4,-15.225), layer=34, texttype=10))
rdy.add(gdstk.Label('VSS', (1.4,-16.065), layer=34, texttype=10))
rdy.add(gdstk.Label('CLK', (0.84,-14.105), layer=34, texttype=10))
rdy.add(gdstk.Label('VDD', (1.4,-12.145), layer=34, texttype=10))
rdy.add(gdstk.Label('D', (3.64,1.96), layer=34, texttype=10))
rdy.add(gdstk.Label('Q', (18.76,1.96), layer=34, texttype=10))
rdy.add(gdstk.Label('RN', (15.4,0.84), layer=34, texttype=10))
rdy.add(gdstk.Label('VSS', (1.4,0), layer=34, texttype=10))
rdy.add(gdstk.Label('CLK', (0.84,1.96), layer=34, texttype=10))
rdy.add(gdstk.Label('VDD', (1.4,3.92), layer=34, texttype=10))
rdy.add(gdstk.Label('& Vendor GLOBALFOUNDRIES', (0,-3.3), layer=63, texttype=63))
rdy.add(gdstk.Label('& Product GF018hv5v_mcu_sc7', (0,-3.8), layer=63, texttype=63))
rdy.add(gdstk.Label('& Version 2015q2v1', (0,-4.3), layer=63, texttype=63))
rdy.add(gdstk.Label('& Metric 1.00', (0,-4.8), layer=63, texttype=63))
rdy.add(gdstk.Label('& Vendor GLOBALFOUNDRIES', (0,-8.675), layer=63, texttype=63))
rdy.add(gdstk.Label('& Product GF018hv5v_mcu_sc7', (0,-9.175), layer=63, texttype=63))
rdy.add(gdstk.Label('& Version 2015q2v1', (0,-9.675), layer=63, texttype=63))
rdy.add(gdstk.Label('& Metric 1.00', (0,-10.175), layer=63, texttype=63))
rdy.add(gdstk.Label('& Vendor GLOBALFOUNDRIES', (0,-14.065), layer=63, texttype=63))
rdy.add(gdstk.Label('& Product GF018hv5v_mcu_sc7', (0,-14.565), layer=63, texttype=63))
rdy.add(gdstk.Label('& Version 2015q2v1', (0,-15.065), layer=63, texttype=63))
rdy.add(gdstk.Label('& Metric 1.00', (0,-15.565), layer=63, texttype=63))
rdy.add(gdstk.Label('& Vendor GLOBALFOUNDRIES', (0,2), layer=63, texttype=63))
rdy.add(gdstk.Label('& Product GF018hv5v_mcu_sc7', (0,1.5), layer=63, texttype=63))
rdy.add(gdstk.Label('& Version 2015q2v1', (0,1), layer=63, texttype=63))
rdy.add(gdstk.Label('& Metric 1.00', (0,0.5), layer=63, texttype=63))
rdy.add(gdstk.Label('VNW', (0.345,-1.38), layer=21, texttype=10))
rdy.add(gdstk.Label('VNW', (0.345,-6.755), layer=21, texttype=10))
rdy.add(gdstk.Label('VNW', (0.345,-12.145), layer=21, texttype=10))
rdy.add(gdstk.Label('VNW', (0.345,3.92), layer=21, texttype=10))
rdy.add(gdstk.Label('VPW', (0.34,-5.385), layer=204, texttype=10))
rdy.add(gdstk.Label('VPW', (0.34,-10.76), layer=204, texttype=10))
rdy.add(gdstk.Label('VPW', (0.34,-16.15), layer=204, texttype=10))
rdy.add(gdstk.Label('VPW', (0.34,-0.085), layer=204, texttype=10))

lib.write_gds('RDY.gds')
